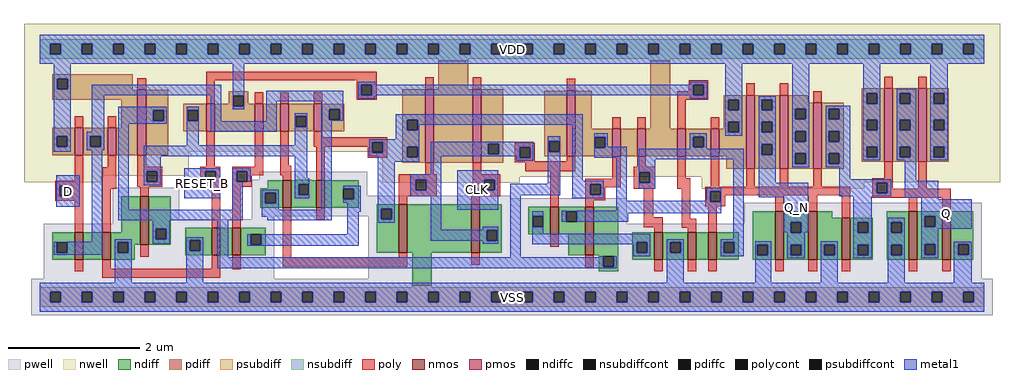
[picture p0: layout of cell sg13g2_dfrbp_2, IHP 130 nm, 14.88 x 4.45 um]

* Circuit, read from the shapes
.subckt sg13g2_dfrbp_2 VDD D Q CLK VSS RESET_B Q_N
XM1 n1 D n2 VSS sg13_lv_nmos w=0.42u l=0.13u
XM2 VSS RESET_B n1 VSS sg13_lv_nmos w=0.42u l=0.13u
XM3 n3 n4 VSS VSS sg13_lv_nmos w=0.74u l=0.13u
XM4 n5 RESET_B VSS VSS sg13_lv_nmos w=0.42u l=0.13u
XM5 n6 n3 n5 VSS sg13_lv_nmos w=0.42u l=0.13u
XM6 n4 n7 n2 VSS sg13_lv_nmos w=0.42u l=0.13u
XM7 n6 n8 n4 VSS sg13_lv_nmos w=0.42u l=0.13u
XM8 VSS n7 n8 VSS sg13_lv_nmos w=0.74u l=0.13u
XM9 n7 CLK VSS VSS sg13_lv_nmos w=0.74u l=0.13u
XM10 n9 n7 n10 VSS sg13_lv_nmos w=0.42u l=0.13u
XM11 n3 n8 n9 VSS sg13_lv_nmos w=0.74u l=0.13u
XM12 VSS n11 n10 VSS sg13_lv_nmos w=0.42u l=0.13u
XM13 n12 RESET_B VSS VSS sg13_lv_nmos w=0.42u l=0.13u
XM14 n11 n9 n12 VSS sg13_lv_nmos w=0.42u l=0.13u
XM15 Q_N n9 VSS VSS sg13_lv_nmos w=0.74u l=0.13u m=2
XM16 n13 n9 VSS VSS sg13_lv_nmos w=0.64u l=0.13u
XM17 Q n13 VSS VSS sg13_lv_nmos w=0.74u l=0.13u m=2
XM18 n2 D VDD VDD sg13_lv_pmos w=0.42u l=0.13u
XM19 VDD RESET_B n2 VDD sg13_lv_pmos w=0.42u l=0.13u
XM20 n3 n4 VDD VDD sg13_lv_pmos w=1u l=0.13u
XM21 VDD RESET_B n4 VDD sg13_lv_pmos w=0.42u l=0.13u
XM22 n14 n3 VDD VDD sg13_lv_pmos w=0.42u l=0.13u
XM23 n4 n7 n14 VDD sg13_lv_pmos w=0.42u l=0.13u
XM24 n2 n8 n4 VDD sg13_lv_pmos w=0.42u l=0.13u
XM25 VDD n7 n8 VDD sg13_lv_pmos w=1.12u l=0.13u
XM26 n7 CLK VDD VDD sg13_lv_pmos w=1.12u l=0.13u
XM27 n9 n7 n3 VDD sg13_lv_pmos w=1u l=0.13u
XM28 n15 n8 n9 VDD sg13_lv_pmos w=0.42u l=0.13u
XM29 VDD n11 n15 VDD sg13_lv_pmos w=0.42u l=0.13u
XM30 n11 RESET_B VDD VDD sg13_lv_pmos w=0.42u l=0.13u
XM31 VDD n9 n11 VDD sg13_lv_pmos w=0.42u l=0.13u
XM32 Q_N n9 VDD VDD sg13_lv_pmos w=1.12u l=0.13u m=2
XM33 n13 n9 VDD VDD sg13_lv_pmos w=1u l=0.13u
XM34 Q n13 VDD VDD sg13_lv_pmos w=1.12u l=0.13u m=2
.ends

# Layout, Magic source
magic
tech ihp-sg13g2
magscale 1 2
<< nwell >>
rect -48 443 2928 834
rect -48 370 454 443
rect -48 350 187 370
rect 1044 367 2928 443
rect 1044 348 1463 367
rect 2019 350 2928 367
rect 2019 330 2514 350
<< pwell >>
rect 755 382 855 384
rect 669 358 998 382
rect 223 237 426 333
rect 647 309 998 358
rect 647 301 1435 309
rect 647 246 1790 301
rect 647 237 715 246
rect 223 224 715 237
rect 12 56 715 224
rect 1001 224 1790 246
rect 2148 224 2872 288
rect 1001 56 2872 224
rect -26 -56 2906 56
<< nmos >>
rect 106 114 132 198
rect 190 114 216 198
rect 306 159 332 307
rect 741 272 767 356
rect 843 272 869 356
rect 524 127 550 211
rect 587 127 613 211
rect 1095 135 1121 283
rect 1315 135 1341 283
rect 1557 191 1583 275
rect 1664 127 1690 275
rect 1874 114 1900 198
rect 1976 114 2002 198
rect 2038 114 2064 198
rect 2242 114 2268 262
rect 2344 114 2370 262
rect 2446 114 2472 242
rect 2650 114 2676 262
rect 2752 114 2778 262
<< pmos >>
rect 106 432 132 516
rect 208 432 234 516
rect 298 432 324 632
rect 508 505 534 589
rect 655 505 681 589
rect 733 505 759 589
rect 835 505 861 589
rect 1175 410 1201 634
rect 1320 410 1346 634
rect 1607 429 1633 629
rect 1746 429 1772 513
rect 1822 429 1848 513
rect 1944 429 1970 513
rect 2046 429 2072 513
rect 2154 392 2180 616
rect 2256 392 2282 616
rect 2358 392 2384 592
rect 2575 412 2601 636
rect 2678 412 2704 636
<< ndiff >>
rect 249 198 306 307
rect 38 167 106 198
rect 38 135 52 167
rect 84 135 106 167
rect 38 114 106 135
rect 132 114 190 198
rect 216 167 306 198
rect 216 135 238 167
rect 270 159 306 167
rect 332 208 400 307
rect 781 356 829 358
rect 695 332 741 356
rect 673 318 741 332
rect 673 286 687 318
rect 719 286 741 318
rect 673 272 741 286
rect 767 344 843 356
rect 767 312 789 344
rect 821 312 843 344
rect 767 272 843 312
rect 869 330 972 356
rect 869 298 926 330
rect 958 298 972 330
rect 869 272 972 298
rect 332 176 354 208
rect 386 176 400 208
rect 332 159 400 176
rect 443 173 524 211
rect 270 135 289 159
rect 216 114 289 135
rect 443 141 457 173
rect 489 141 524 173
rect 443 127 524 141
rect 550 127 587 211
rect 613 191 689 211
rect 613 159 643 191
rect 675 159 689 191
rect 613 127 689 159
rect 1027 269 1095 283
rect 1027 237 1041 269
rect 1073 237 1095 269
rect 1027 135 1095 237
rect 1121 135 1315 283
rect 1341 204 1409 283
rect 1341 172 1363 204
rect 1395 172 1409 204
rect 1489 247 1557 275
rect 1489 215 1503 247
rect 1535 215 1557 247
rect 1489 191 1557 215
rect 1583 261 1664 275
rect 1583 229 1605 261
rect 1637 229 1664 261
rect 1583 191 1664 229
rect 1341 135 1409 172
rect 1136 36 1196 135
rect 1612 127 1664 191
rect 1690 127 1764 275
rect 1704 124 1764 127
rect 1704 92 1718 124
rect 1750 92 1764 124
rect 1806 167 1874 198
rect 1806 135 1820 167
rect 1852 135 1874 167
rect 1806 114 1874 135
rect 1900 167 1976 198
rect 1900 135 1922 167
rect 1954 135 1976 167
rect 1900 114 1976 135
rect 2002 114 2038 198
rect 2064 167 2132 198
rect 2064 135 2086 167
rect 2118 135 2132 167
rect 2064 114 2132 135
rect 2174 160 2242 262
rect 2174 128 2188 160
rect 2220 128 2242 160
rect 2174 114 2242 128
rect 2268 228 2344 262
rect 2268 196 2290 228
rect 2322 196 2344 228
rect 2268 160 2344 196
rect 2268 128 2290 160
rect 2322 128 2344 160
rect 2268 114 2344 128
rect 2370 242 2416 262
rect 2370 160 2446 242
rect 2370 128 2392 160
rect 2424 128 2446 160
rect 2370 114 2446 128
rect 2472 228 2540 242
rect 2472 196 2494 228
rect 2526 196 2540 228
rect 2472 160 2540 196
rect 2472 128 2494 160
rect 2526 128 2540 160
rect 2472 114 2540 128
rect 2582 228 2650 262
rect 2582 196 2596 228
rect 2628 196 2650 228
rect 2582 160 2650 196
rect 2582 128 2596 160
rect 2628 128 2650 160
rect 2582 114 2650 128
rect 2676 246 2752 262
rect 2676 214 2698 246
rect 2730 214 2752 246
rect 2676 161 2752 214
rect 2676 129 2698 161
rect 2730 129 2752 161
rect 2676 114 2752 129
rect 2778 161 2846 262
rect 2778 129 2800 161
rect 2832 129 2846 161
rect 2778 114 2846 129
rect 1704 78 1764 92
<< pdiff >>
rect 38 665 283 679
rect 38 633 53 665
rect 85 633 283 665
rect 38 632 283 633
rect 38 602 298 632
rect 248 516 298 602
rect 38 490 106 516
rect 38 458 52 490
rect 84 458 106 490
rect 38 432 106 458
rect 132 491 208 516
rect 132 459 154 491
rect 186 459 208 491
rect 132 432 208 459
rect 234 432 298 516
rect 324 570 392 632
rect 576 614 636 628
rect 576 589 590 614
rect 324 538 346 570
rect 378 538 392 570
rect 324 432 392 538
rect 438 570 508 589
rect 438 538 452 570
rect 484 538 508 570
rect 438 505 508 538
rect 534 582 590 589
rect 622 589 636 614
rect 1215 634 1306 720
rect 622 582 655 589
rect 534 505 655 582
rect 681 505 733 589
rect 759 551 835 589
rect 759 519 781 551
rect 813 519 835 551
rect 759 505 835 519
rect 861 573 929 589
rect 861 541 883 573
rect 915 541 929 573
rect 861 505 929 541
rect 1106 540 1175 634
rect 1106 508 1120 540
rect 1152 508 1175 540
rect 1106 459 1175 508
rect 1106 427 1120 459
rect 1152 427 1175 459
rect 1106 410 1175 427
rect 1201 410 1320 634
rect 1346 467 1414 634
rect 1539 475 1607 629
rect 1346 435 1368 467
rect 1400 435 1414 467
rect 1346 410 1414 435
rect 1539 443 1553 475
rect 1585 443 1607 475
rect 1539 429 1607 443
rect 1633 513 1683 629
rect 1862 513 1922 720
rect 2086 602 2154 616
rect 2086 570 2100 602
rect 2132 570 2154 602
rect 2086 534 2154 570
rect 2086 513 2100 534
rect 1633 487 1746 513
rect 1633 455 1692 487
rect 1724 455 1746 487
rect 1633 429 1746 455
rect 1772 429 1822 513
rect 1848 429 1944 513
rect 1970 489 2046 513
rect 1970 457 1992 489
rect 2024 457 2046 489
rect 1970 429 2046 457
rect 2072 502 2100 513
rect 2132 502 2154 534
rect 2072 429 2154 502
rect 2094 392 2154 429
rect 2180 602 2256 616
rect 2180 570 2202 602
rect 2234 570 2256 602
rect 2180 534 2256 570
rect 2180 502 2202 534
rect 2234 502 2256 534
rect 2180 466 2256 502
rect 2180 434 2202 466
rect 2234 434 2256 466
rect 2180 392 2256 434
rect 2282 592 2343 616
rect 2507 621 2575 636
rect 2282 574 2358 592
rect 2282 542 2304 574
rect 2336 542 2358 574
rect 2282 506 2358 542
rect 2282 474 2304 506
rect 2336 474 2358 506
rect 2282 438 2358 474
rect 2282 406 2304 438
rect 2336 406 2358 438
rect 2282 392 2358 406
rect 2384 574 2452 592
rect 2384 542 2406 574
rect 2438 542 2452 574
rect 2384 506 2452 542
rect 2384 474 2406 506
rect 2438 474 2452 506
rect 2384 438 2452 474
rect 2384 406 2406 438
rect 2438 406 2452 438
rect 2507 589 2521 621
rect 2553 589 2575 621
rect 2507 540 2575 589
rect 2507 508 2521 540
rect 2553 508 2575 540
rect 2507 459 2575 508
rect 2507 427 2521 459
rect 2553 427 2575 459
rect 2507 412 2575 427
rect 2601 621 2678 636
rect 2601 589 2623 621
rect 2655 589 2678 621
rect 2601 540 2678 589
rect 2601 508 2623 540
rect 2655 508 2678 540
rect 2601 459 2678 508
rect 2601 427 2623 459
rect 2655 427 2678 459
rect 2601 412 2678 427
rect 2704 621 2772 636
rect 2704 589 2726 621
rect 2758 589 2772 621
rect 2704 540 2772 589
rect 2704 508 2726 540
rect 2758 508 2772 540
rect 2704 459 2772 508
rect 2704 427 2726 459
rect 2758 427 2772 459
rect 2704 412 2772 427
rect 2384 392 2452 406
<< ndiffc >>
rect 52 135 84 167
rect 238 135 270 167
rect 687 286 719 318
rect 789 312 821 344
rect 926 298 958 330
rect 354 176 386 208
rect 457 141 489 173
rect 643 159 675 191
rect 1041 237 1073 269
rect 1363 172 1395 204
rect 1503 215 1535 247
rect 1605 229 1637 261
rect 1718 92 1750 124
rect 1820 135 1852 167
rect 1922 135 1954 167
rect 2086 135 2118 167
rect 2188 128 2220 160
rect 2290 196 2322 228
rect 2290 128 2322 160
rect 2392 128 2424 160
rect 2494 196 2526 228
rect 2494 128 2526 160
rect 2596 196 2628 228
rect 2596 128 2628 160
rect 2698 214 2730 246
rect 2698 129 2730 161
rect 2800 129 2832 161
<< pdiffc >>
rect 53 633 85 665
rect 52 458 84 490
rect 154 459 186 491
rect 346 538 378 570
rect 452 538 484 570
rect 590 582 622 614
rect 781 519 813 551
rect 883 541 915 573
rect 1120 508 1152 540
rect 1120 427 1152 459
rect 1368 435 1400 467
rect 1553 443 1585 475
rect 2100 570 2132 602
rect 1692 455 1724 487
rect 1992 457 2024 489
rect 2100 502 2132 534
rect 2202 570 2234 602
rect 2202 502 2234 534
rect 2202 434 2234 466
rect 2304 542 2336 574
rect 2304 474 2336 506
rect 2304 406 2336 438
rect 2406 542 2438 574
rect 2406 474 2438 506
rect 2406 406 2438 438
rect 2521 589 2553 621
rect 2521 508 2553 540
rect 2521 427 2553 459
rect 2623 589 2655 621
rect 2623 508 2655 540
rect 2623 427 2655 459
rect 2726 589 2758 621
rect 2726 508 2758 540
rect 2726 427 2758 459
<< psubdiff >>
rect 1136 30 1196 36
rect 0 16 2880 30
rect 0 -16 32 16
rect 64 -16 128 16
rect 160 -16 224 16
rect 256 -16 320 16
rect 352 -16 416 16
rect 448 -16 512 16
rect 544 -16 608 16
rect 640 -16 704 16
rect 736 -16 800 16
rect 832 -16 896 16
rect 928 -16 992 16
rect 1024 -16 1088 16
rect 1120 -16 1184 16
rect 1216 -16 1280 16
rect 1312 -16 1376 16
rect 1408 -16 1472 16
rect 1504 -16 1568 16
rect 1600 -16 1664 16
rect 1696 -16 1760 16
rect 1792 -16 1856 16
rect 1888 -16 1952 16
rect 1984 -16 2048 16
rect 2080 -16 2144 16
rect 2176 -16 2240 16
rect 2272 -16 2336 16
rect 2368 -16 2432 16
rect 2464 -16 2528 16
rect 2560 -16 2624 16
rect 2656 -16 2720 16
rect 2752 -16 2816 16
rect 2848 -16 2880 16
rect 0 -30 2880 -16
<< nsubdiff >>
rect 0 772 2880 786
rect 0 740 32 772
rect 64 740 128 772
rect 160 740 224 772
rect 256 740 320 772
rect 352 740 416 772
rect 448 740 512 772
rect 544 740 608 772
rect 640 740 704 772
rect 736 740 800 772
rect 832 740 896 772
rect 928 740 992 772
rect 1024 740 1088 772
rect 1120 740 1184 772
rect 1216 740 1280 772
rect 1312 740 1376 772
rect 1408 740 1472 772
rect 1504 740 1568 772
rect 1600 740 1664 772
rect 1696 740 1760 772
rect 1792 740 1856 772
rect 1888 740 1952 772
rect 1984 740 2048 772
rect 2080 740 2144 772
rect 2176 740 2240 772
rect 2272 740 2336 772
rect 2368 740 2432 772
rect 2464 740 2528 772
rect 2560 740 2624 772
rect 2656 740 2720 772
rect 2752 740 2816 772
rect 2848 740 2880 772
rect 0 726 2880 740
rect 1215 720 1306 726
rect 1862 720 1922 726
<< psubdiffcont >>
rect 32 -16 64 16
rect 128 -16 160 16
rect 224 -16 256 16
rect 320 -16 352 16
rect 416 -16 448 16
rect 512 -16 544 16
rect 608 -16 640 16
rect 704 -16 736 16
rect 800 -16 832 16
rect 896 -16 928 16
rect 992 -16 1024 16
rect 1088 -16 1120 16
rect 1184 -16 1216 16
rect 1280 -16 1312 16
rect 1376 -16 1408 16
rect 1472 -16 1504 16
rect 1568 -16 1600 16
rect 1664 -16 1696 16
rect 1760 -16 1792 16
rect 1856 -16 1888 16
rect 1952 -16 1984 16
rect 2048 -16 2080 16
rect 2144 -16 2176 16
rect 2240 -16 2272 16
rect 2336 -16 2368 16
rect 2432 -16 2464 16
rect 2528 -16 2560 16
rect 2624 -16 2656 16
rect 2720 -16 2752 16
rect 2816 -16 2848 16
<< nsubdiffcont >>
rect 32 740 64 772
rect 128 740 160 772
rect 224 740 256 772
rect 320 740 352 772
rect 416 740 448 772
rect 512 740 544 772
rect 608 740 640 772
rect 704 740 736 772
rect 800 740 832 772
rect 896 740 928 772
rect 992 740 1024 772
rect 1088 740 1120 772
rect 1184 740 1216 772
rect 1280 740 1312 772
rect 1376 740 1408 772
rect 1472 740 1504 772
rect 1568 740 1600 772
rect 1664 740 1696 772
rect 1760 740 1792 772
rect 1856 740 1888 772
rect 1952 740 1984 772
rect 2048 740 2080 772
rect 2144 740 2176 772
rect 2240 740 2272 772
rect 2336 740 2368 772
rect 2432 740 2464 772
rect 2528 740 2560 772
rect 2624 740 2656 772
rect 2720 740 2752 772
rect 2816 740 2848 772
<< poly >>
rect 298 632 324 668
rect 508 661 1027 687
rect 106 516 132 552
rect 208 516 234 552
rect 508 589 534 661
rect 967 647 1027 661
rect 655 589 681 625
rect 733 589 759 625
rect 835 589 861 625
rect 967 615 981 647
rect 1013 615 1027 647
rect 1175 634 1201 670
rect 1320 634 1346 670
rect 967 601 1027 615
rect 106 354 132 432
rect 208 396 234 432
rect 47 340 132 354
rect 47 308 61 340
rect 93 308 132 340
rect 47 294 132 308
rect 106 198 132 294
rect 190 330 234 396
rect 298 397 324 432
rect 508 397 534 505
rect 655 397 681 505
rect 298 383 373 397
rect 298 351 327 383
rect 359 351 373 383
rect 298 337 373 351
rect 490 383 550 397
rect 490 351 504 383
rect 536 351 550 383
rect 490 337 550 351
rect 190 198 216 330
rect 306 307 332 337
rect 524 211 550 337
rect 587 383 681 397
rect 587 351 601 383
rect 633 371 681 383
rect 733 401 759 505
rect 835 488 861 505
rect 835 472 1060 488
rect 835 458 1014 472
rect 733 371 767 401
rect 633 351 647 371
rect 741 356 767 371
rect 843 356 869 458
rect 1000 440 1014 458
rect 1046 440 1060 472
rect 1000 425 1060 440
rect 1607 629 1633 665
rect 1449 457 1509 471
rect 1449 425 1463 457
rect 1495 425 1509 457
rect 1746 513 1772 549
rect 1822 513 1848 549
rect 1979 647 2039 661
rect 1979 628 1993 647
rect 1944 615 1993 628
rect 2025 615 2039 647
rect 2154 616 2180 652
rect 2256 616 2282 652
rect 2575 636 2601 672
rect 2678 636 2704 672
rect 1944 601 2039 615
rect 1944 513 1970 601
rect 2046 513 2072 549
rect 1449 414 1509 425
rect 1607 414 1633 429
rect 1449 411 1633 414
rect 1175 374 1201 410
rect 1320 374 1346 410
rect 1480 384 1633 411
rect 1095 357 1210 374
rect 587 337 647 351
rect 587 211 613 337
rect 1095 325 1147 357
rect 1179 325 1210 357
rect 1320 357 1404 374
rect 1320 338 1355 357
rect 1095 308 1210 325
rect 1315 325 1355 338
rect 1387 325 1404 357
rect 1315 308 1404 325
rect 1095 283 1121 308
rect 1315 283 1341 308
rect 306 123 332 159
rect 106 78 132 114
rect 190 86 216 114
rect 524 86 550 127
rect 190 59 550 86
rect 587 85 613 127
rect 741 121 767 272
rect 843 236 869 272
rect 1557 275 1583 384
rect 1746 361 1772 429
rect 1822 397 1848 429
rect 1664 344 1772 361
rect 1664 312 1678 344
rect 1710 335 1772 344
rect 1811 380 1877 397
rect 1811 348 1828 380
rect 1860 348 1877 380
rect 1710 312 1724 335
rect 1811 331 1877 348
rect 1944 363 1970 429
rect 1664 295 1724 312
rect 1664 275 1690 295
rect 1557 153 1583 191
rect 1095 121 1121 135
rect 741 93 1121 121
rect 1315 99 1341 135
rect 1841 243 1871 331
rect 1944 330 1983 363
rect 2046 337 2072 429
rect 2358 592 2384 628
rect 2154 337 2180 392
rect 2256 337 2282 392
rect 2358 337 2384 392
rect 2575 363 2601 412
rect 2538 349 2601 363
rect 1841 213 1900 243
rect 1874 198 1900 213
rect 1957 239 1983 330
rect 2030 323 2472 337
rect 2030 291 2044 323
rect 2076 311 2472 323
rect 2076 291 2090 311
rect 2030 277 2090 291
rect 1957 212 2002 239
rect 1976 198 2002 212
rect 2038 198 2064 277
rect 2242 262 2268 311
rect 2344 262 2370 311
rect 1664 89 1690 127
rect 2446 242 2472 311
rect 2538 317 2552 349
rect 2584 330 2601 349
rect 2678 330 2704 412
rect 2584 317 2778 330
rect 2538 303 2778 317
rect 2650 262 2676 303
rect 2752 262 2778 303
rect 1874 78 1900 114
rect 1976 78 2002 114
rect 2038 78 2064 114
rect 2242 78 2268 114
rect 2344 78 2370 114
rect 2446 78 2472 114
rect 2650 78 2676 114
rect 2752 78 2778 114
<< polycont >>
rect 981 615 1013 647
rect 61 308 93 340
rect 327 351 359 383
rect 504 351 536 383
rect 601 351 633 383
rect 1014 440 1046 472
rect 1463 425 1495 457
rect 1993 615 2025 647
rect 1147 325 1179 357
rect 1355 325 1387 357
rect 1678 312 1710 344
rect 1828 348 1860 380
rect 2044 291 2076 323
rect 2552 317 2584 349
<< metal1 >>
rect 0 772 2880 800
rect 0 740 32 772
rect 64 740 128 772
rect 160 740 224 772
rect 256 740 320 772
rect 352 740 416 772
rect 448 740 512 772
rect 544 740 608 772
rect 640 740 704 772
rect 736 740 800 772
rect 832 740 896 772
rect 928 740 992 772
rect 1024 740 1088 772
rect 1120 740 1184 772
rect 1216 740 1280 772
rect 1312 740 1376 772
rect 1408 740 1472 772
rect 1504 740 1568 772
rect 1600 740 1664 772
rect 1696 740 1760 772
rect 1792 740 1856 772
rect 1888 740 1952 772
rect 1984 740 2048 772
rect 2080 740 2144 772
rect 2176 740 2240 772
rect 2272 740 2336 772
rect 2368 740 2432 772
rect 2464 740 2528 772
rect 2560 740 2624 772
rect 2656 740 2720 772
rect 2752 740 2816 772
rect 2848 740 2880 772
rect 0 712 2880 740
rect 43 665 94 712
rect 43 633 53 665
rect 85 633 94 665
rect 43 490 94 633
rect 158 616 553 648
rect 158 504 196 616
rect 43 458 52 490
rect 84 458 94 490
rect 43 443 94 458
rect 144 491 196 504
rect 144 459 154 491
rect 186 459 196 491
rect 144 448 196 459
rect 240 570 388 580
rect 240 538 346 570
rect 378 538 388 570
rect 240 528 388 538
rect 449 570 485 580
rect 449 538 452 570
rect 484 538 485 570
rect 51 340 122 371
rect 51 308 61 340
rect 93 308 122 340
rect 51 275 122 308
rect 158 168 190 448
rect 240 266 272 528
rect 449 463 485 538
rect 521 536 553 616
rect 589 614 623 712
rect 971 647 1023 657
rect 1982 647 2036 657
rect 589 582 590 614
rect 622 582 623 614
rect 589 572 623 582
rect 691 597 925 629
rect 971 615 981 647
rect 1013 615 1993 647
rect 2025 615 2036 647
rect 971 605 1023 615
rect 1982 605 2036 615
rect 691 536 723 597
rect 858 573 925 597
rect 521 504 723 536
rect 778 551 815 561
rect 778 519 781 551
rect 813 519 815 551
rect 778 463 815 519
rect 449 461 815 463
rect 317 429 815 461
rect 317 383 369 429
rect 317 351 327 383
rect 359 351 369 383
rect 317 341 369 351
rect 440 383 550 393
rect 440 351 504 383
rect 536 351 550 383
rect 440 302 550 351
rect 587 383 643 393
rect 587 351 601 383
rect 633 351 643 383
rect 778 362 815 429
rect 858 541 883 573
rect 915 541 925 573
rect 2090 602 2142 712
rect 2090 570 2100 602
rect 2132 570 2142 602
rect 858 537 925 541
rect 1085 540 1655 558
rect 587 266 619 351
rect 778 344 822 362
rect 240 234 619 266
rect 677 318 729 328
rect 677 286 687 318
rect 719 286 729 318
rect 778 312 789 344
rect 821 312 822 344
rect 778 302 822 312
rect 677 266 729 286
rect 858 266 890 537
rect 1085 508 1120 540
rect 1152 526 1655 540
rect 1152 508 1157 526
rect 1085 482 1157 508
rect 1004 472 1157 482
rect 1549 475 1587 490
rect 1004 440 1014 472
rect 1046 459 1157 472
rect 1046 440 1120 459
rect 1004 430 1120 440
rect 1031 427 1120 430
rect 1152 427 1157 459
rect 1031 412 1157 427
rect 1193 467 1505 474
rect 1193 435 1368 467
rect 1400 457 1505 467
rect 1400 435 1463 457
rect 1193 429 1463 435
rect 926 330 979 340
rect 958 298 979 330
rect 926 288 979 298
rect 677 245 890 266
rect 693 234 890 245
rect 937 260 979 288
rect 1031 269 1083 412
rect 1193 374 1225 429
rect 1453 425 1463 429
rect 1495 425 1505 457
rect 1453 415 1505 425
rect 1549 443 1553 475
rect 1585 443 1587 475
rect 1130 357 1225 374
rect 1130 325 1147 357
rect 1179 325 1225 357
rect 1130 308 1225 325
rect 344 208 396 234
rect 42 167 190 168
rect 42 135 52 167
rect 84 135 190 167
rect 42 129 190 135
rect 228 167 280 177
rect 228 135 238 167
rect 270 135 280 167
rect 344 176 354 208
rect 386 176 396 208
rect 344 163 396 176
rect 447 173 499 183
rect 228 44 280 135
rect 447 141 457 173
rect 489 141 499 173
rect 447 44 499 141
rect 541 121 575 234
rect 937 192 973 260
rect 1031 237 1041 269
rect 1073 237 1083 269
rect 1031 227 1083 237
rect 633 191 973 192
rect 633 159 643 191
rect 675 159 973 191
rect 1193 205 1225 308
rect 1273 357 1398 387
rect 1273 325 1355 357
rect 1387 325 1398 357
rect 1549 345 1587 443
rect 1273 267 1398 325
rect 1434 311 1587 345
rect 1623 354 1655 526
rect 2090 534 2142 570
rect 2090 502 2100 534
rect 2132 502 2142 534
rect 1691 487 1732 500
rect 1691 455 1692 487
rect 1724 459 1732 487
rect 1982 489 2034 499
rect 2090 492 2142 502
rect 2192 602 2244 612
rect 2192 570 2202 602
rect 2234 570 2244 602
rect 2192 534 2244 570
rect 2192 502 2202 534
rect 2234 502 2244 534
rect 1724 455 1790 459
rect 1691 425 1790 455
rect 1982 457 1992 489
rect 2024 457 2034 489
rect 1982 452 2034 457
rect 2192 466 2244 502
rect 1623 344 1720 354
rect 1623 312 1678 344
rect 1710 312 1720 344
rect 1351 205 1398 214
rect 1193 204 1398 205
rect 1193 172 1363 204
rect 1395 172 1398 204
rect 1193 171 1398 172
rect 1351 162 1398 171
rect 633 157 973 159
rect 1434 121 1466 311
rect 1623 302 1720 312
rect 1758 293 1790 425
rect 1826 420 2146 452
rect 1826 380 1877 420
rect 1826 348 1828 380
rect 1860 348 1877 380
rect 1826 331 1877 348
rect 2033 323 2078 333
rect 2033 293 2044 323
rect 1758 291 2044 293
rect 2076 291 2078 323
rect 1758 263 2078 291
rect 1502 247 1536 262
rect 1502 215 1503 247
rect 1535 215 1536 247
rect 1592 261 2078 263
rect 1592 229 1605 261
rect 1637 255 2078 261
rect 1637 229 1794 255
rect 1502 193 1536 215
rect 1502 167 1862 193
rect 2114 177 2146 420
rect 2192 434 2202 466
rect 2234 434 2244 466
rect 2192 348 2244 434
rect 2294 574 2346 712
rect 2511 621 2563 712
rect 2511 589 2521 621
rect 2553 589 2563 621
rect 2294 542 2304 574
rect 2336 542 2346 574
rect 2294 506 2346 542
rect 2294 474 2304 506
rect 2336 474 2346 506
rect 2294 438 2346 474
rect 2294 406 2304 438
rect 2336 406 2346 438
rect 2294 396 2346 406
rect 2396 574 2472 584
rect 2396 542 2406 574
rect 2438 542 2472 574
rect 2396 506 2472 542
rect 2396 474 2406 506
rect 2438 474 2472 506
rect 2396 438 2472 474
rect 2396 406 2406 438
rect 2438 406 2472 438
rect 2511 540 2563 589
rect 2511 508 2521 540
rect 2553 508 2563 540
rect 2511 459 2563 508
rect 2511 427 2521 459
rect 2553 427 2563 459
rect 2511 417 2563 427
rect 2613 621 2672 635
rect 2613 589 2623 621
rect 2655 589 2672 621
rect 2613 540 2672 589
rect 2613 508 2623 540
rect 2655 508 2672 540
rect 2613 459 2672 508
rect 2613 427 2623 459
rect 2655 427 2672 459
rect 2613 417 2672 427
rect 2716 621 2768 712
rect 2716 589 2726 621
rect 2758 589 2768 621
rect 2716 540 2768 589
rect 2716 508 2726 540
rect 2758 508 2768 540
rect 2716 459 2768 508
rect 2716 427 2726 459
rect 2758 427 2768 459
rect 2716 417 2768 427
rect 2396 396 2472 406
rect 2438 359 2472 396
rect 2438 349 2597 359
rect 2192 304 2344 348
rect 2438 317 2552 349
rect 2584 317 2597 349
rect 2438 307 2597 317
rect 2638 355 2672 417
rect 2268 228 2344 304
rect 2268 198 2290 228
rect 1502 161 1820 167
rect 1810 135 1820 161
rect 1852 135 1862 167
rect 1810 125 1862 135
rect 1912 167 1964 177
rect 1912 135 1922 167
rect 1954 135 1964 167
rect 1708 124 1760 125
rect 1708 121 1718 124
rect 541 92 1718 121
rect 1750 92 1760 124
rect 541 88 1760 92
rect 1912 44 1964 135
rect 2076 167 2146 177
rect 2279 196 2290 198
rect 2322 198 2344 228
rect 2480 228 2537 307
rect 2638 303 2740 355
rect 2688 298 2740 303
rect 2688 246 2842 298
rect 2322 196 2332 198
rect 2076 135 2086 167
rect 2118 135 2146 167
rect 2076 125 2146 135
rect 2182 160 2230 170
rect 2182 128 2188 160
rect 2220 128 2230 160
rect 2182 44 2230 128
rect 2279 160 2332 196
rect 2480 196 2494 228
rect 2526 196 2537 228
rect 2279 128 2290 160
rect 2322 128 2332 160
rect 2279 118 2332 128
rect 2382 160 2434 170
rect 2382 128 2392 160
rect 2424 128 2434 160
rect 2382 44 2434 128
rect 2480 160 2537 196
rect 2480 128 2494 160
rect 2526 128 2537 160
rect 2480 118 2537 128
rect 2586 228 2638 242
rect 2586 196 2596 228
rect 2628 196 2638 228
rect 2586 160 2638 196
rect 2586 128 2596 160
rect 2628 128 2638 160
rect 2586 44 2638 128
rect 2688 214 2698 246
rect 2730 214 2842 246
rect 2688 209 2842 214
rect 2688 161 2740 209
rect 2688 129 2698 161
rect 2730 129 2740 161
rect 2688 119 2740 129
rect 2787 161 2842 168
rect 2787 129 2800 161
rect 2832 129 2842 161
rect 2787 44 2842 129
rect 0 16 2880 44
rect 0 -16 32 16
rect 64 -16 128 16
rect 160 -16 224 16
rect 256 -16 320 16
rect 352 -16 416 16
rect 448 -16 512 16
rect 544 -16 608 16
rect 640 -16 704 16
rect 736 -16 800 16
rect 832 -16 896 16
rect 928 -16 992 16
rect 1024 -16 1088 16
rect 1120 -16 1184 16
rect 1216 -16 1280 16
rect 1312 -16 1376 16
rect 1408 -16 1472 16
rect 1504 -16 1568 16
rect 1600 -16 1664 16
rect 1696 -16 1760 16
rect 1792 -16 1856 16
rect 1888 -16 1952 16
rect 1984 -16 2048 16
rect 2080 -16 2144 16
rect 2176 -16 2240 16
rect 2272 -16 2336 16
rect 2368 -16 2432 16
rect 2464 -16 2528 16
rect 2560 -16 2624 16
rect 2656 -16 2720 16
rect 2752 -16 2816 16
rect 2848 -16 2880 16
rect 0 -44 2880 -16
<< labels >>
flabel metal1 s 1273 267 1398 387 0 FreeSans 400 0 0 0 CLK
port 4 nsew
flabel metal1 s 0 -44 2880 44 0 FreeSans 400 0 0 0 VSS
port 5 nsew
flabel metal1 s 51 275 122 371 0 FreeSans 340 0 0 0 D
port 2 nsew
flabel metal1 s 2268 198 2344 348 0 FreeSans 340 0 0 0 Q_N
port 7 nsew
flabel metal1 s 2688 209 2842 298 0 FreeSans 340 0 0 0 Q
port 3 nsew
flabel metal1 s 0 712 2880 800 0 FreeSans 400 0 0 0 VDD
port 1 nsew
flabel metal1 s 440 302 550 393 0 FreeSans 400 0 0 0 RESET_B
port 6 nsew
<< properties >>
string FIXED_BBOX 0 0 2880 756
string GDS_END 144918
string GDS_FILE sg13g2_stdcell.gds
string GDS_START 128746
<< end >>
